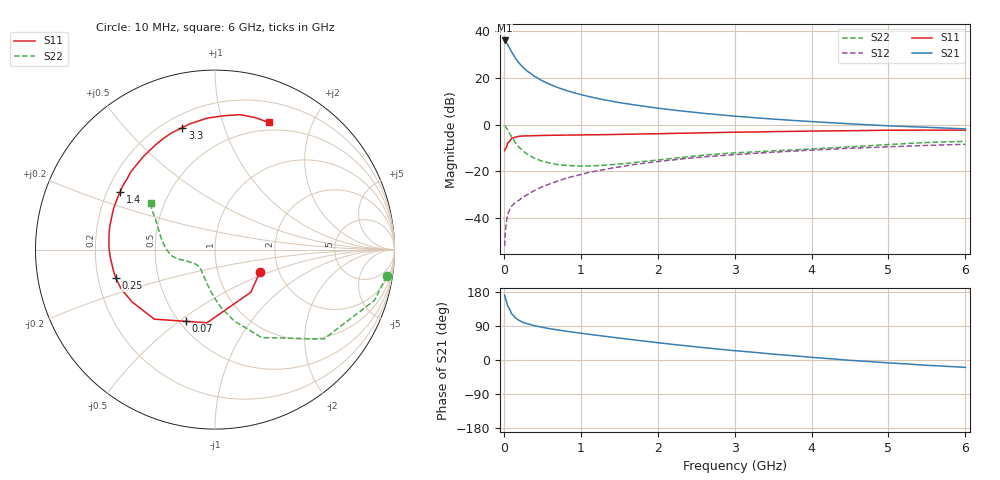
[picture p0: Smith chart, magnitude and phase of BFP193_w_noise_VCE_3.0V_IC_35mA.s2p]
! Infineon Technologies  Discrete & RF Semiconductors
! BFP193
! VCE =  3.0 V,  IC =  35 mA
! Common Emitter S-Parameters:  Jan 2017
# GHz  S  MA  R  50
!  f  S11  S21  S12  S22
! GHz  MAG  ANG  MAG  ANG  MAG  ANG  MAG  ANG
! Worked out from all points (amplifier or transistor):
!   77 points, 10 MHz to 6 GHz, reference 50 ohm
!   highest |S21| = 36.2 dB at 10 MHz (marker M1)
!   |S21| within 3 dB of that: start of sweep to 69.66 MHz
!   unconditionally stable (mu >= 1): 639.5 MHz to 2.5 GHz
!   at 130 MHz: K = 0.54, MSG = 31.8 dB, |S12| = -33.9 dB
!   at 2.2 GHz: K = 1.01, MAG = 10.0 dB, |S12| = -15.1 dB
!   at 6 GHz: K = 0.93, MSG = 3.3 dB, |S12| = -8.4 dB
!   lowest NFmin = 1.29 dB at 450 MHz
!   S11 on the Smith chart (normalised r, x): 10 MHz: 1.59, -0.43; 70 MHz: 0.54, -0.53; 250 MHz: 0.27, -0.13; 1.4 GHz: 0.25, +0.26; 3.3 GHz: 0.27, +0.73; 6 GHz: 0.41, +1.43
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0.01  0.2795 -26.7  64.21 171.3  0.0025 86.7  0.9672 -8.7
0.02  0.3104 -49.9  62.84 163.2  0.0052 78.6  0.933 -17.6
0.05  0.4099 -96.2  52.3 142.5  0.0121 63.4  0.785 -39.4
0.07  0.431 -112.0  45.35 136.0  0.0144 60.6  0.6811 -46.6
0.1  0.5143 -131.1  36.51 122.0  0.018 57.8  0.5547 -62.1
0.15  0.5463 -147.8  26.71 111.1  0.0215 55.4  0.4121 -74.9
0.2  0.5668 -157.3  20.84 104.3  0.0243 57.3  0.3284 -83.6
0.25  0.5753 -164.1  16.98 99.3  0.0285 58.5  0.2741 -89.9
0.3  0.5781 -168.6  14.29 95.9  0.0314 60.0  0.2365 -95.4
0.4  0.585 -175.8  10.89 90.3  0.0391 63.5  0.1911 -103.9
0.5  0.5909 179.0  8.754 86.2  0.0469 64.5  0.1658 -111.1
0.6  0.594 174.4  7.339 82.5  0.0543 65.0  0.1504 -117.5
0.7  0.5974 170.8  6.304 79.5  0.0623 65.8  0.1397 -122.4
0.9  0.602 163.9  4.916 73.4  0.0782 65.1  0.1328 -131.1
1.1  0.61 157.7  4.053 68.1  0.0945 64.0  0.1313 -138.0
1.4  0.6179 148.9  3.21 60.3  0.1177 61.4  0.1396 -146.8
2.1  0.6485 130.1  2.172 43.5  0.1696 53.2  0.1833 -160.9
3.1  0.6961 108.6  1.489 23.0  0.2347 40.6  0.255 -175.6
3.3  0.7037 105.0  1.404 19.4  0.2463 38.3  0.2651 -178.9
4.1  0.7356 92.0  1.145 5.6  0.2915 28.7  0.3094 167.0
5.1  0.765 78.1  0.936 -8.8  0.3423 17.3  0.3847 151.3
6  0.7689 67.1  0.817 -19.5  0.3818 7.3  0.4408 143.7
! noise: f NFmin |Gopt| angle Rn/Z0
0.45  1.29  0.37  -172  0.08
0.9  1.35  0.4  -169  0.08
1.9  1.95  0.58  -135  0.18
2.4  2.29  0.62  -120  0.4
